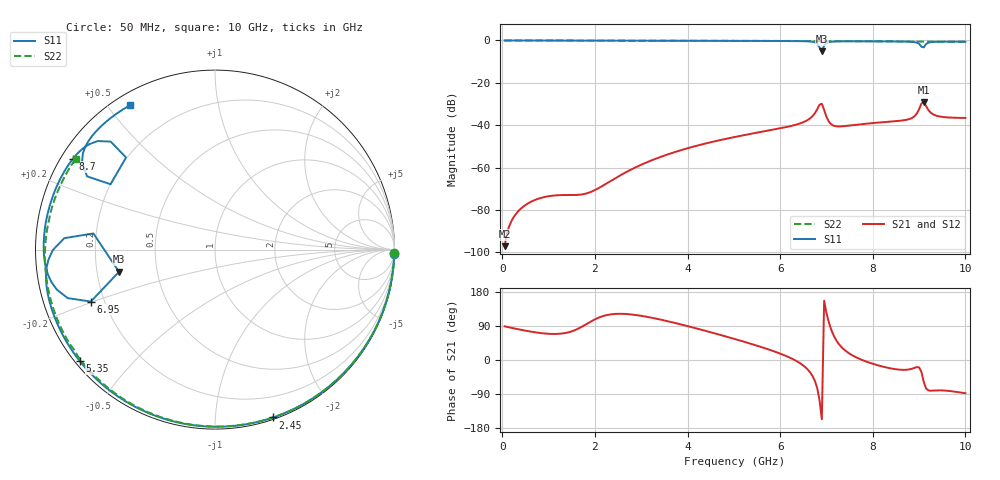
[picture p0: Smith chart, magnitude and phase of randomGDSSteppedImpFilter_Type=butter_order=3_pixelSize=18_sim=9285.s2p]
! freq	dB(S11)	phase(S11)	dB(S12)	phase(S12)
!  dB(S21)	phase(S21)	dB(S22)	phase(S22)
!S-par simulation data
#  GHz  S  DB  R 50
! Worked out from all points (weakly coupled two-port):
!   200 points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, 50 MHz to 10 GHz, reference 50 ohm
!   highest |S21| = -28.99 dB at 9.1 GHz (marker M1); lowest = -97.1 dB at 50 MHz (marker M2)
!   lowest |S11| = -5.2 dB at 6.9 GHz (marker M3), VSWR 3.43, Z = 14.7 - j5.21 ohm
!   |S11| at or under -10 dB: nowhere
!   |S22| runs from -0.7 to 0.0 dB; largest |S21 - S12| = 0
!   S11 on the Smith chart (normalised r, x): 50 MHz: 2, -78; 2.45 GHz: 0.02, -1.40; 5.35 GHz: 0.01, -0.36; 6.95 GHz: 0.15, -0.20; 8.7 GHz: 0.03, +0.29; 10 GHz: 0.05, +0.57
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0.05  -0.01 -1.5  -97.06 88.8  -97.06 88.8  -0.00 -1.1
0.35  -0.02 -10.6  -80.44 81.0  -80.44 81.0  -0.01 -8.0
0.95  -0.04 -28.6  -73.69 69.6  -73.69 69.6  -0.03 -21.8
1.75  -0.06 -51.7  -72.52 90.0  -72.52 90.0  -0.05 -39.7
2.45  -0.09 -70.9  -64.86 121.7  -64.86 121.7  -0.07 -55.0
3.4  -0.12 -95.3  -55.10 107.1  -55.10 107.1  -0.10 -75.1
5.05  -0.19 -133.8  -45.41 54.3  -45.41 54.3  -0.17 -108.3
5.35  -0.21 -140.5  -44.13 43.4  -44.13 43.4  -0.18 -114.1
6.35  -0.31 -163.8  -39.69 -2.5  -39.69 -2.5  -0.25 -133.7
6.7  -0.63 -176.4  -35.69 -42.4  -35.69 -42.4  -0.28 -140.6
6.85  -3.31 172.4  -30.32 -105.9  -30.32 -105.9  -0.31 -143.6
6.9  -5.21 -167.0  -29.87 -156.4  -29.87 -156.4  -0.33 -144.4
6.95  -2.50 -157.3  -32.80 156.3  -32.80 156.3  -0.32 -145.3
7.05  -0.82 -165.8  -38.23 100.0  -38.23 100.0  -0.31 -147.3
7.2  -0.48 -173.3  -40.48 54.4  -40.48 54.4  -0.32 -150.3
8.35  -0.46 156.9  -38.34 -21.3  -38.34 -21.3  -0.44 -174.2
8.7  -0.54 147.4  -37.54 -26.0  -37.54 -26.0  -0.48 178.2
9  -1.55 134.0  -32.48 -19.5  -32.48 -19.5  -0.53 171.4
9.1  -3.27 148.0  -28.99 -57.4  -28.99 -57.4  -0.54 169.2
9.2  -1.05 146.8  -32.81 -80.2  -32.81 -80.2  -0.55 166.8
9.35  -0.64 139.4  -35.33 -80.3  -35.33 -80.3  -0.57 163.2
10  -0.60 120.6  -36.57 -87.7  -36.57 -87.7  -0.66 147.0
